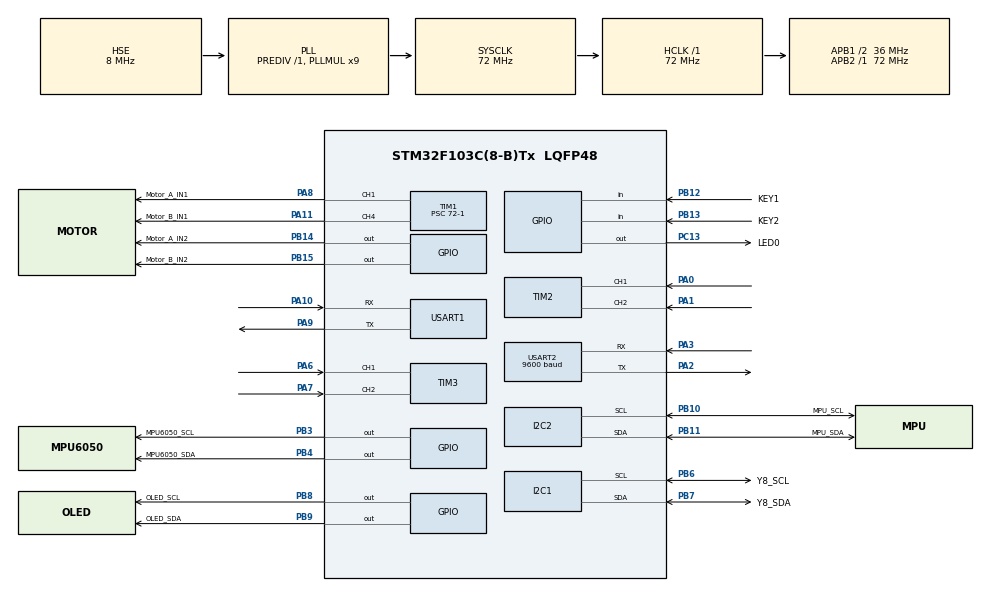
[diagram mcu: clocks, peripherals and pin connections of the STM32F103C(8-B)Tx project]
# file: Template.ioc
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Dma.Request0=USART1_RX
Dma.Request1=USART1_TX
Dma.Request2=USART2_RX
Dma.Request3=USART2_TX
Dma.USART1_RX.0.Direction=DMA_PERIPH_TO_MEMORY
Dma.USART1_RX.0.Instance=DMA1_Channel5
Dma.USART1_RX.0.MemDataAlignment=DMA_MDATAALIGN_BYTE
Dma.USART1_RX.0.MemInc=DMA_MINC_ENABLE
Dma.USART1_RX.0.Mode=DMA_NORMAL
Dma.USART1_RX.0.PeriphDataAlignment=DMA_PDATAALIGN_BYTE
Dma.USART1_RX.0.PeriphInc=DMA_PINC_DISABLE
Dma.USART1_RX.0.Priority=DMA_PRIORITY_LOW
Dma.USART1_TX.1.Direction=DMA_MEMORY_TO_PERIPH
Dma.USART1_TX.1.Instance=DMA1_Channel4
Dma.USART1_TX.1.MemDataAlignment=DMA_MDATAALIGN_BYTE
Dma.USART1_TX.1.MemInc=DMA_MINC_ENABLE
Dma.USART1_TX.1.Mode=DMA_NORMAL
Dma.USART1_TX.1.PeriphDataAlignment=DMA_PDATAALIGN_BYTE
Dma.USART1_TX.1.PeriphInc=DMA_PINC_DISABLE
Dma.USART1_TX.1.Priority=DMA_PRIORITY_LOW
Dma.USART2_RX.2.Direction=DMA_PERIPH_TO_MEMORY
Dma.USART2_RX.2.Instance=DMA1_Channel6
Dma.USART2_RX.2.MemDataAlignment=DMA_MDATAALIGN_BYTE
Dma.USART2_RX.2.MemInc=DMA_MINC_ENABLE
Dma.USART2_RX.2.Mode=DMA_NORMAL
Dma.USART2_RX.2.PeriphDataAlignment=DMA_PDATAALIGN_BYTE
Dma.USART2_RX.2.PeriphInc=DMA_PINC_DISABLE
Dma.USART2_RX.2.Priority=DMA_PRIORITY_LOW
Dma.USART2_TX.3.Direction=DMA_MEMORY_TO_PERIPH
Dma.USART2_TX.3.Instance=DMA1_Channel7
Dma.USART2_TX.3.MemDataAlignment=DMA_MDATAALIGN_BYTE
Dma.USART2_TX.3.MemInc=DMA_MINC_ENABLE
Dma.USART2_TX.3.Mode=DMA_NORMAL
Dma.USART2_TX.3.PeriphDataAlignment=DMA_PDATAALIGN_BYTE
Dma.USART2_TX.3.PeriphInc=DMA_PINC_DISABLE
Dma.USART2_TX.3.Priority=DMA_PRIORITY_LOW
Mcu.Family=STM32F1
Mcu.Name=STM32F103C(8-B)Tx
Mcu.Package=LQFP48
NVIC.DMA1_Channel4_IRQn=true\:0\:0\:false\:false\:true\:false\:true\:true
NVIC.DMA1_Channel5_IRQn=true\:0\:0\:false\:false\:true\:false\:true\:true
NVIC.DMA1_Channel6_IRQn=true\:0\:0\:false\:false\:true\:false\:true\:true
NVIC.DMA1_Channel7_IRQn=true\:0\:0\:false\:false\:true\:false\:true\:true
NVIC.PriorityGroup=NVIC_PRIORITYGROUP_2
NVIC.USART1_IRQn=true\:0\:0\:false\:false\:true\:true\:true\:true
NVIC.USART2_IRQn=true\:0\:0\:false\:false\:true\:true\:true\:true
PA0-WKUP.Signal=S_TIM2_CH1_ETR
PA1.Signal=S_TIM2_CH2
PA10.Mode=Asynchronous
PA10.Signal=USART1_RX
PA11.GPIO_Label=Motor_B_IN1
PA11.Signal=S_TIM1_CH4
PA13.Mode=Serial_Wire
PA13.Signal=SYS_JTMS-SWDIO
PA14.Mode=Serial_Wire
PA14.Signal=SYS_JTCK-SWCLK
PA2.Mode=Asynchronous
PA2.Signal=USART2_TX
PA3.Mode=Asynchronous
PA3.Signal=USART2_RX
PA6.Signal=S_TIM3_CH1
PA7.Signal=S_TIM3_CH2
PA8.GPIO_Label=Motor_A_IN1
PA8.Signal=S_TIM1_CH1
PA9.Mode=Asynchronous
PA9.Signal=USART1_TX
PB10.GPIO_Label=MPU_SCL
PB10.Mode=I2C
PB10.Signal=I2C2_SCL
PB11.GPIO_Label=MPU_SDA
PB11.Mode=I2C
PB11.Signal=I2C2_SDA
PB12.GPIO_Label=KEY1
PB12.GPIO_PuPd=GPIO_PULLUP
PB12.Signal=GPIO_Input
PB13.GPIO_Label=KEY2
PB13.GPIO_PuPd=GPIO_PULLUP
PB13.Signal=GPIO_Input
PB14.GPIO_Label=Motor_A_IN2
PB14.Signal=GPIO_Output
PB15.GPIO_Label=Motor_B_IN2
PB15.Signal=GPIO_Output
PB3.GPIO_Label=MPU6050_SCL
PB3.GPIO_ModeDefaultOutputPP=GPIO_MODE_OUTPUT_OD
PB3.GPIO_PuPd=GPIO_PULLUP
PB3.Signal=GPIO_Output
PB4.GPIO_Label=MPU6050_SDA
PB4.GPIO_ModeDefaultOutputPP=GPIO_MODE_OUTPUT_OD
PB4.GPIO_PuPd=GPIO_PULLUP
PB4.Signal=GPIO_Output
PB6.GPIO_Label=Y8_SCL
PB6.Mode=I2C
PB6.Signal=I2C1_SCL
PB7.GPIO_Label=Y8_SDA
PB7.Mode=I2C
PB7.Signal=I2C1_SDA
PB8.GPIO_Label=OLED_SCL
PB8.GPIO_Speed=GPIO_SPEED_FREQ_HIGH
PB8.Signal=GPIO_Output
PB9.GPIO_Label=OLED_SDA
PB9.GPIO_Speed=GPIO_SPEED_FREQ_HIGH
PB9.PinState=GPIO_PIN_RESET
PB9.Signal=GPIO_Output
PC13-TAMPER-RTC.GPIO_Label=LED0
PC13-TAMPER-RTC.PinState=GPIO_PIN_RESET
PC13-TAMPER-RTC.Signal=GPIO_Output
PC14-OSC32_IN.Mode=LSE-External-Oscillator
PC14-OSC32_IN.Signal=RCC_OSC32_IN
PC15-OSC32_OUT.Mode=LSE-External-Oscillator
PC15-OSC32_OUT.Signal=RCC_OSC32_OUT
PD0-OSC_IN.Mode=HSE-External-Oscillator
PD0-OSC_IN.Signal=RCC_OSC_IN
PD1-OSC_OUT.Mode=HSE-External-Oscillator
PD1-OSC_OUT.Signal=RCC_OSC_OUT
ProjectManager.HeapSize=0x200
ProjectManager.StackSize=0x400
ProjectManager.TargetToolchain=MDK-ARM V5.32
RCC.AHBFreq_Value=72000000
RCC.APB1CLKDivider=RCC_HCLK_DIV2
RCC.APB1Freq_Value=36000000
RCC.APB1TimFreq_Value=72000000
RCC.APB2Freq_Value=72000000
RCC.APB2TimFreq_Value=72000000
RCC.HCLKFreq_Value=72000000
RCC.PLLMUL=RCC_PLL_MUL9
RCC.PLLSourceVirtual=RCC_PLLSOURCE_HSE
RCC.SYSCLKFreq_VALUE=72000000
RCC.SYSCLKSource=RCC_SYSCLKSOURCE_PLLCLK
RCC.USBFreq_Value=72000000
SH.S_TIM1_CH1.0=TIM1_CH1,PWM Generation1 CH1
SH.S_TIM1_CH4.0=TIM1_CH4,PWM Generation4 CH4
SH.S_TIM2_CH1_ETR.0=TIM2_CH1,Encoder_Interface
SH.S_TIM2_CH2.0=TIM2_CH2,Encoder_Interface
SH.S_TIM3_CH1.0=TIM3_CH1,Encoder_Interface
SH.S_TIM3_CH2.0=TIM3_CH2,Encoder_Interface
TIM1.AutoReloadPreload=TIM_AUTORELOAD_PRELOAD_ENABLE
TIM1.Channel-PWM\ Generation1\ CH1=TIM_CHANNEL_1
TIM1.Channel-PWM\ Generation4\ CH4=TIM_CHANNEL_4
TIM1.Period=100-1
TIM1.Prescaler=72-1
TIM2.EncoderMode=TIM_ENCODERMODE_TI12
TIM3.EncoderMode=TIM_ENCODERMODE_TI12
USART1.VirtualMode=VM_ASYNC
USART2.BaudRate=9600
USART2.VirtualMode=VM_ASYNC
VP_TIM1_VS_ClockSourceINT.Mode=Internal
board=custom

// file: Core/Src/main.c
/* USER CODE BEGIN Header */
/**
  ******************************************************************************
  * @file           : main.c
  * @brief          : Main program body
  ******************************************************************************
  * @attention
  *
  * Copyright (c) 2025 STMicroelectronics.
  * All rights reserved.
  *
  * This software is licensed under terms that can be found in the LICENSE file
  * in the root directory of this software component.
  * If no LICENSE file comes with this software, it is provided AS-IS.
  *
  ******************************************************************************
  */
/* USER CODE END Header */
#include "main.h"
#include "dma.h"
#include "i2c.h"
#include "tim.h"
#include "usart.h"
#include "gpio.h"

void SystemClock_Config(void);

/* USER CODE BEGIN 0 */
// *******************前言*******************
/*
	USART1已经被Serial接管,数据接收只能以一定的协议进行

	电脑端为上位机,通过VOFA发送指令(HEX和文本两种类型)
	STM32段为下位机,通过USART1接受指令,执行相应命令,但是STM32发送个电脑(VOFA)的信息不需要遵循相关协议

	使用USART1与电脑通信:
	VOFA改为115200 Serial改为1 Printf重定向为1
	使用蓝牙与电脑通信:
	搁置USART1 VOFA改为9600 Serial改为2 Printf重定向为2
*/

// *******************库/函数导入*******************
#include "Mymain.h"

/* USER CODE END 0 */

int main(void)
{
  /* USER CODE BEGIN 1 */

	// 暂时关闭 SysTick 中断,否则电机还没有进行初始化就驱动,导致指针指向空,发生越界错误
  __disable_irq();

  /* USER CODE END 1 */

  /* MCU Configuration--------------------------------------------------------*/

  /* Reset of all peripherals, Initializes the Flash interface and the Systick. */
  HAL_Init();

  /* Configure the system clock */
  SystemClock_Config();

  /* Initialize all configured peripherals */
  MX_GPIO_Init();
  MX_DMA_Init();
  MX_USART1_UART_Init();
  MX_TIM2_Init();
  MX_TIM3_Init();
  MX_TIM1_Init();
  MX_USART2_UART_Init();
  MX_I2C1_Init();
  MX_I2C2_Init();
  /* USER CODE BEGIN 2 */

	// ******************* setup *******************

	Mymain() ;

	// ******************* 实验区域 *******************

  /* USER CODE END 2 */

  /* Infinite loop */
  while (1)
  {

  }
}

void SystemClock_Config(void)
{
  RCC_OscInitTypeDef RCC_OscInitStruct = {0};
  RCC_ClkInitTypeDef RCC_ClkInitStruct = {0};

  /** Initializes the RCC Oscillators according to the specified parameters
  * in the RCC_OscInitTypeDef structure.
  */
  RCC_OscInitStruct.OscillatorType = RCC_OSCILLATORTYPE_HSE;
  RCC_OscInitStruct.HSEState = RCC_HSE_ON;
  RCC_OscInitStruct.HSEPredivValue = RCC_HSE_PREDIV_DIV1;
  RCC_OscInitStruct.HSIState = RCC_HSI_ON;
  RCC_OscInitStruct.PLL.PLLState = RCC_PLL_ON;
  RCC_OscInitStruct.PLL.PLLSource = RCC_PLLSOURCE_HSE;
  RCC_OscInitStruct.PLL.PLLMUL = RCC_PLL_MUL9;
  if (HAL_RCC_OscConfig(&RCC_OscInitStruct) != HAL_OK)
  {
    Error_Handler();
  }

  /** Initializes the CPU, AHB and APB buses clocks
  */
  RCC_ClkInitStruct.ClockType = RCC_CLOCKTYPE_HCLK|RCC_CLOCKTYPE_SYSCLK
                              |RCC_CLOCKTYPE_PCLK1|RCC_CLOCKTYPE_PCLK2;
  RCC_ClkInitStruct.SYSCLKSource = RCC_SYSCLKSOURCE_PLLCLK;
  RCC_ClkInitStruct.AHBCLKDivider = RCC_SYSCLK_DIV1;
  RCC_ClkInitStruct.APB1CLKDivider = RCC_HCLK_DIV2;
  RCC_ClkInitStruct.APB2CLKDivider = RCC_HCLK_DIV1;

  if (HAL_RCC_ClockConfig(&RCC_ClkInitStruct, FLASH_LATENCY_2) != HAL_OK)
  {
    Error_Handler();
  }
}

/* USER CODE BEGIN 4 */

// 串口空闲中断回调函数
/*串口接收中断回调*/
void HAL_UART_RxCpltCallback(UART_HandleTypeDef *huart)
{
	if(huart->Instance == Serial_USART)
	{
		#ifdef Serial_Debug
		Serial_check[Serial_Count++] = Serial_Rx_Data.rx_temp ;	// 得到所有接收到的数据
		#endif

		// 获得串口数据传输状态(更新)
		Serial_Rx_State = Serial_Rx_State_Check();

		// HEX数据包
		if (Serial_Rx_State == RX_OK_HEX)
		{
			// 开始处理原始数据包:HEX
			Serial_Data_Check_HEX() ;
		}
		// ABC数据包
		else if (Serial_Rx_State == RX_OK_ABC)
		{
			// 开始处理原始数据包:ABC
			Serial_Data_Check_ABC() ;
		}

		// 重新打开串口DMA接收，DMA配置为不连续模式
		HAL_UART_Receive_DMA(huart, &Serial_Rx_Data.rx_temp , 1);
	}
	if(huart->Instance == Serial3_USART)
	{
		#ifdef Serial3_Debug
		Serial3_check[Serial3_Count++] = Serial3_Rx_Data.rx_temp ;	// 得到所有接收到的数据
		#endif

		// 获得串口数据传输状态(更新)
		Serial3_Rx_State = Serial3_Rx_State_Check();

		// HEX数据包
		if (Serial3_Rx_State == RX_OK_HEX)
		{
			// 开始处理原始数据包:HEX
			Serial3_Data_Check_HEX() ;
		}
		// ABC数据包
		else if (Serial3_Rx_State == RX_OK_ABC)
		{
			// 开始处理原始数据包:ABC
			Serial3_Data_Check_ABC() ;
		}

		// 重新打开串口DMA接收，DMA配置为不连续模式
		HAL_UART_Receive_DMA(huart, &Serial3_Rx_Data.rx_temp , 1);
	}
}

/* USER CODE END 4 */

void Error_Handler(void)
{
  __disable_irq();
  while (1)
  {
  }
}
